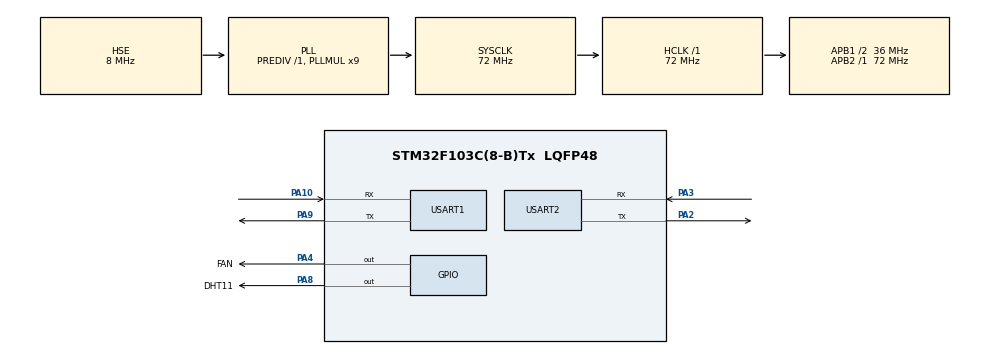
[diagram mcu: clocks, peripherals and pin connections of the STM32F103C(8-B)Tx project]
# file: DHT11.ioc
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Mcu.Family=STM32F1
Mcu.Name=STM32F103C(8-B)Tx
Mcu.Package=LQFP48
NVIC.PriorityGroup=NVIC_PRIORITYGROUP_4
NVIC.USART2_IRQn=true\:0\:0\:false\:false\:true\:true\:true\:true
PA10.Mode=Asynchronous
PA10.Signal=USART1_RX
PA2.Mode=Asynchronous
PA2.Signal=USART2_TX
PA3.Mode=Asynchronous
PA3.Signal=USART2_RX
PA4.GPIO_Label=FAN
PA4.Signal=GPIO_Output
PA8.GPIO_Label=DHT11
PA8.GPIO_ModeDefaultOutputPP=GPIO_MODE_OUTPUT_OD
PA8.GPIO_PuPd=GPIO_PULLUP
PA8.Signal=GPIO_Output
PA9.Mode=Asynchronous
PA9.Signal=USART1_TX
PD0-OSC_IN.Mode=HSE-External-Oscillator
PD0-OSC_IN.Signal=RCC_OSC_IN
PD1-OSC_OUT.Mode=HSE-External-Oscillator
PD1-OSC_OUT.Signal=RCC_OSC_OUT
ProjectManager.HeapSize=0x200
ProjectManager.StackSize=0x400
ProjectManager.TargetToolchain=MDK-ARM V5.32
RCC.AHBFreq_Value=72000000
RCC.APB1CLKDivider=RCC_HCLK_DIV2
RCC.APB1Freq_Value=36000000
RCC.APB1TimFreq_Value=72000000
RCC.APB2Freq_Value=72000000
RCC.APB2TimFreq_Value=72000000
RCC.HCLKFreq_Value=72000000
RCC.PLLMUL=RCC_PLL_MUL9
RCC.PLLSourceVirtual=RCC_PLLSOURCE_HSE
RCC.SYSCLKFreq_VALUE=72000000
RCC.SYSCLKSource=RCC_SYSCLKSOURCE_PLLCLK
RCC.USBFreq_Value=72000000
TIM2.Prescaler=72-1
USART1.VirtualMode=VM_ASYNC
USART2.VirtualMode=VM_ASYNC
VP_SYS_VS_ND.Mode=No_Debug
VP_TIM2_VS_ClockSourceINT.Mode=Internal
board=custom

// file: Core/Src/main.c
/* USER CODE BEGIN Header */
/**
  ******************************************************************************
  * @file           : main.c
  * @brief          : Main program body
  ******************************************************************************
  */
/* USER CODE END Header */
#include "main.h"

/* USER CODE BEGIN Includes */
#include <stdio.h>   // 解决 FILE, printf, sprintf 报错
#include <string.h>  // 解决 strlen 报错
/* USER CODE END Includes */

/* USER CODE BEGIN PD */
#define DHT11_PIN  GPIO_PIN_8
#define DHT11_PORT GPIOA
#define TIM_US     htim2

/* USER CODE END PD */

TIM_HandleTypeDef htim2;

UART_HandleTypeDef huart1;
UART_HandleTypeDef huart2;

void SystemClock_Config(void);
static void MX_GPIO_Init(void);
static void MX_TIM2_Init(void);
static void MX_USART1_UART_Init(void);
static void MX_USART2_UART_Init(void);

/* USER CODE BEGIN 0 */
#define WIFI_UART &huart2
// 封装一个简单的发送函数，比 printf 更稳定
void ESP_SendCmd(char *cmd) {
    HAL_UART_Transmit(WIFI_UART, (uint8_t *)cmd, strlen(cmd), 1000);
}
void ESP8266_Init_Auto(void) {
    // 0. 稍微等待模块启动
    HAL_Delay(1000);

    // 1. 测试 AT (清除串口缓存，测试连接)
    ESP_SendCmd("AT\r\n");
    HAL_Delay(1000);

    // 2. 设置为 Station 模式
    ESP_SendCmd("AT+CWMODE=1\r\n");
    HAL_Delay(1000);

    // 3. 连接 Wi-Fi
    // ⚠️【修改】把 123 换成你的 WiFi 名，12345678 换成密码
    // 注意：保留双引号 \" 不要删
    ESP_SendCmd("AT+CWJAP=\"123\",\"12345678\"\r\n");

    // 【关键等待】Wi-Fi 连接通常需要 3-8 秒，这里给足时间
    HAL_Delay(8000);

    // 4. 连接电脑服务器 (NetAssist)
    // ⚠️【修改】把 192.168.111.85 换成你刚才 ping 通的电脑 IP
    // ⚠️【修改】8888 换成你的端口号
    ESP_SendCmd("AT+CIPSTART=\"TCP\",\"192.168.60.85\",8888\r\n");

    // 连接服务器也需要一点时间
    HAL_Delay(2000);

    // 5. 开启透传模式 (Transmission Mode)
    ESP_SendCmd("AT+CIPMODE=1\r\n");
    HAL_Delay(500);

    // 6. 开始发送
    ESP_SendCmd("AT+CIPSEND\r\n");
    HAL_Delay(500);

    // 此时如果不报错，就已经进入透传模式了，后面发啥电脑收啥
}

/* --- 1. printf 重定向函数 (让 printf 输出到串口) --- */
int fputc(int ch, FILE *f)
{
    HAL_UART_Transmit(&huart1, (uint8_t *)&ch, 1, 0xFFFF);
    return ch;
}

/* --- 2. 微秒延时函数 --- */
static void DWT_Delay_us(uint32_t us)
{
    __HAL_TIM_SET_COUNTER(&TIM_US, 0);
    while (__HAL_TIM_GET_COUNTER(&TIM_US) < us);
}

/* --- 3. DHT11 读一位 --- */
static uint8_t DHT11_ReadBit(void)
{
    while (HAL_GPIO_ReadPin(DHT11_PORT, DHT11_PIN) == GPIO_PIN_SET);
    while (HAL_GPIO_ReadPin(DHT11_PORT, DHT11_PIN) == GPIO_PIN_RESET);
    DWT_Delay_us(40);
    return HAL_GPIO_ReadPin(DHT11_PORT, DHT11_PIN) == GPIO_PIN_SET;
}

/* --- 4. DHT11 读一字节 --- */
static uint8_t DHT11_ReadByte(void)
{
    uint8_t i, byte = 0;
    for (i = 0; i < 8; i++)
        byte = (byte << 1) | DHT11_ReadBit();
    return byte;
}

/* --- 5. DHT11 读取主函数 --- */
uint8_t DHT11_Read(float *temp, float *humi)
{
    uint8_t buf[5] = {0};
    uint8_t i;

    /* 主机拉低 ≥18 ms */
    HAL_GPIO_WritePin(DHT11_PORT, DHT11_PIN, GPIO_PIN_RESET);
    DWT_Delay_us(18000);
    /* 释放总线，等待上拉 */
    HAL_GPIO_WritePin(DHT11_PORT, DHT11_PIN, GPIO_PIN_SET);
    DWT_Delay_us(30);

    /* 检测响应 */
    if (HAL_GPIO_ReadPin(DHT11_PORT, DHT11_PIN) != GPIO_PIN_RESET)
        return 1;  // 无响应
    while (HAL_GPIO_ReadPin(DHT11_PORT, DHT11_PIN) == GPIO_PIN_RESET);
    while (HAL_GPIO_ReadPin(DHT11_PORT, DHT11_PIN) == GPIO_PIN_SET);

    /* 读数据 */
    for (i = 0; i < 5; i++) buf[i] = DHT11_ReadByte();

    /* 校验 */
    if (buf[4] != (buf[0] + buf[1] + buf[2] + buf[3]))
        return 2;  // 校验错

    *humi = buf[0] + buf[1] * 0.1f;
    *temp = buf[2] + buf[3] * 0.1f;
    return 0;      // 成功
}
/* USER CODE END 0 */

int main(void)
{

  /* USER CODE BEGIN 1 */
  char dataBuffer[128];
  /* USER CODE END 1 */

  /* MCU Configuration--------------------------------------------------------*/

  /* Reset of all peripherals, Initializes the Flash interface and the Systick. */
  HAL_Init();

  /* Configure the system clock */
  SystemClock_Config();

  /* Initialize all configured peripherals */
  MX_GPIO_Init();
  MX_TIM2_Init();
  MX_USART1_UART_Init();
  MX_USART2_UART_Init();
  /* USER CODE BEGIN 2 */
  HAL_TIM_Base_Start(&TIM_US); // 开启定时器
  printf("DHT11 Test Start...\r\n"); // 先打印一句，测试串口通不通
  printf("System Start...\r\n"); // 发给电脑看：系统启动了
  ESP8266_Init_Auto();

  // --- 新增：测试 ESP8266 ---
  //uint8_t at_cmd[] = "AT\r\n"; // AT指令，后面必须加回车换行

  // 通过 USART2 发送给 ESP8266
 // HAL_UART_Transmit(&huart2, at_cmd, sizeof(at_cmd)-1, 1000);

  // 同时打印给电脑看，证明程序跑到这一步了
 // printf("Sent AT command to ESP8266 via USART2\r\n");
  /* USER CODE END 2 */
   float temp,humi;
  /* Infinite loop */
  /* USER CODE BEGIN WHILE */
  while (1)
  {
      if (DHT11_Read(&temp, &humi) == 0)
		  sprintf(dataBuffer, "Temp=%.1f, Humi=%.1f\r\n", temp, humi);
	      // 2. 发送给电脑
          // 因为已经透传了，直接用 HAL_UART_Transmit 发送内容即可
	      HAL_UART_Transmit(WIFI_UART, (uint8_t *)dataBuffer, strlen(dataBuffer), 1000);
         // printf("T=%.1f  H=%.1f\r\n", t, h);
      HAL_Delay(2000); // 间隔2秒读一次
      // 假设 PA4 接继电器
    if (temp > 26.0) {
    HAL_GPIO_WritePin(GPIOA, GPIO_PIN_4, GPIO_PIN_SET);
   } else {
    HAL_GPIO_WritePin(GPIOA, GPIO_PIN_4, GPIO_PIN_RESET);
    }
    /* USER CODE END WHILE */

  }
}

void SystemClock_Config(void)
{
  RCC_OscInitTypeDef RCC_OscInitStruct = {0};
  RCC_ClkInitTypeDef RCC_ClkInitStruct = {0};

  /** Initializes the RCC Oscillators according to the specified parameters
  * in the RCC_OscInitTypeDef structure.
  */
  RCC_OscInitStruct.OscillatorType = RCC_OSCILLATORTYPE_HSE;
  RCC_OscInitStruct.HSEState = RCC_HSE_ON;
  RCC_OscInitStruct.HSEPredivValue = RCC_HSE_PREDIV_DIV1;
  RCC_OscInitStruct.HSIState = RCC_HSI_ON;
  RCC_OscInitStruct.PLL.PLLState = RCC_PLL_ON;
  RCC_OscInitStruct.PLL.PLLSource = RCC_PLLSOURCE_HSE;
  RCC_OscInitStruct.PLL.PLLMUL = RCC_PLL_MUL9;
  if (HAL_RCC_OscConfig(&RCC_OscInitStruct) != HAL_OK)
  {
    Error_Handler();
  }

  /** Initializes the CPU, AHB and APB buses clocks
  */
  RCC_ClkInitStruct.ClockType = RCC_CLOCKTYPE_HCLK|RCC_CLOCKTYPE_SYSCLK
                              |RCC_CLOCKTYPE_PCLK1|RCC_CLOCKTYPE_PCLK2;
  RCC_ClkInitStruct.SYSCLKSource = RCC_SYSCLKSOURCE_PLLCLK;
  RCC_ClkInitStruct.AHBCLKDivider = RCC_SYSCLK_DIV1;
  RCC_ClkInitStruct.APB1CLKDivider = RCC_HCLK_DIV2;
  RCC_ClkInitStruct.APB2CLKDivider = RCC_HCLK_DIV1;

  if (HAL_RCC_ClockConfig(&RCC_ClkInitStruct, FLASH_LATENCY_2) != HAL_OK)
  {
    Error_Handler();
  }
}

static void MX_TIM2_Init(void)
{

  TIM_ClockConfigTypeDef sClockSourceConfig = {0};
  TIM_MasterConfigTypeDef sMasterConfig = {0};

  htim2.Instance = TIM2;
  htim2.Init.Prescaler = 72-1;
  htim2.Init.CounterMode = TIM_COUNTERMODE_UP;
  htim2.Init.Period = 65535;
  htim2.Init.ClockDivision = TIM_CLOCKDIVISION_DIV1;
  htim2.Init.AutoReloadPreload = TIM_AUTORELOAD_PRELOAD_DISABLE;
  if (HAL_TIM_Base_Init(&htim2) != HAL_OK)
  {
    Error_Handler();
  }
  sClockSourceConfig.ClockSource = TIM_CLOCKSOURCE_INTERNAL;
  if (HAL_TIM_ConfigClockSource(&htim2, &sClockSourceConfig) != HAL_OK)
  {
    Error_Handler();
  }
  sMasterConfig.MasterOutputTrigger = TIM_TRGO_RESET;
  sMasterConfig.MasterSlaveMode = TIM_MASTERSLAVEMODE_DISABLE;
  if (HAL_TIMEx_MasterConfigSynchronization(&htim2, &sMasterConfig) != HAL_OK)
  {
    Error_Handler();
  }

}

static void MX_USART1_UART_Init(void)
{

  huart1.Instance = USART1;
  huart1.Init.BaudRate = 115200;
  huart1.Init.WordLength = UART_WORDLENGTH_8B;
  huart1.Init.StopBits = UART_STOPBITS_1;
  huart1.Init.Parity = UART_PARITY_NONE;
  huart1.Init.Mode = UART_MODE_TX_RX;
  huart1.Init.HwFlowCtl = UART_HWCONTROL_NONE;
  huart1.Init.OverSampling = UART_OVERSAMPLING_16;
  if (HAL_UART_Init(&huart1) != HAL_OK)
  {
    Error_Handler();
  }

}

static void MX_USART2_UART_Init(void)
{

  huart2.Instance = USART2;
  huart2.Init.BaudRate = 115200;
  huart2.Init.WordLength = UART_WORDLENGTH_8B;
  huart2.Init.StopBits = UART_STOPBITS_1;
  huart2.Init.Parity = UART_PARITY_NONE;
  huart2.Init.Mode = UART_MODE_TX_RX;
  huart2.Init.HwFlowCtl = UART_HWCONTROL_NONE;
  huart2.Init.OverSampling = UART_OVERSAMPLING_16;
  if (HAL_UART_Init(&huart2) != HAL_OK)
  {
    Error_Handler();
  }

}

static void MX_GPIO_Init(void)
{
  GPIO_InitTypeDef GPIO_InitStruct = {0};

  /* GPIO Ports Clock Enable */
  __HAL_RCC_GPIOD_CLK_ENABLE();
  __HAL_RCC_GPIOA_CLK_ENABLE();

  /*Configure GPIO pin Output Level */
  HAL_GPIO_WritePin(GPIOA, FAN_Pin|DHT11_Pin, GPIO_PIN_RESET);

  /*Configure GPIO pin : FAN_Pin */
  GPIO_InitStruct.Pin = FAN_Pin;
  GPIO_InitStruct.Mode = GPIO_MODE_OUTPUT_PP;
  GPIO_InitStruct.Pull = GPIO_NOPULL;
  GPIO_InitStruct.Speed = GPIO_SPEED_FREQ_LOW;
  HAL_GPIO_Init(FAN_GPIO_Port, &GPIO_InitStruct);

  /*Configure GPIO pin : DHT11_Pin */
  GPIO_InitStruct.Pin = DHT11_Pin;
  GPIO_InitStruct.Mode = GPIO_MODE_OUTPUT_OD;
  GPIO_InitStruct.Pull = GPIO_PULLUP;
  GPIO_InitStruct.Speed = GPIO_SPEED_FREQ_LOW;
  HAL_GPIO_Init(DHT11_GPIO_Port, &GPIO_InitStruct);

}

void Error_Handler(void)
{
  __disable_irq();
  while (1)
  {
  }
}
